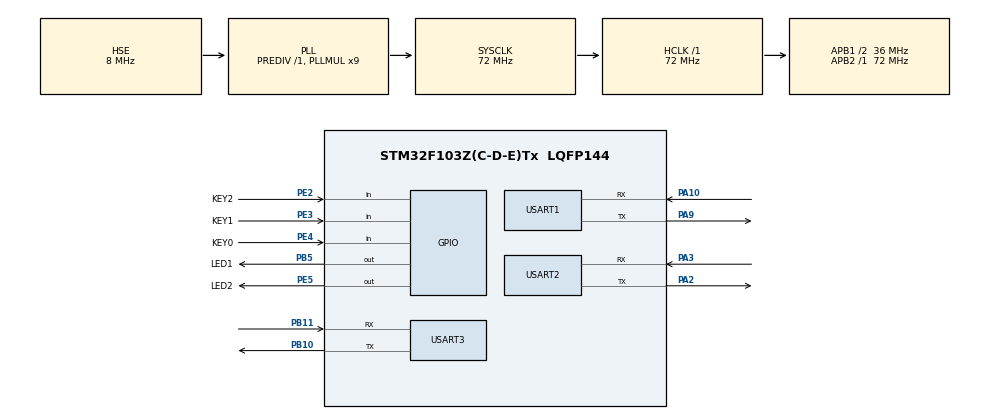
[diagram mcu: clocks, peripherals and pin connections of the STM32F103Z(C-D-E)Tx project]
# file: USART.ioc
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FREERTOS.Tasks01=Init_Task,2,128,Init_Function,Default,NULL,Dynamic,NULL,NULL;LED_Task,-3,128,LED_Function,Default,NULL,Dynamic,NULL,NULL;myTaskKEY,-3,128,StartTaskKEY,Default,NULL,Dynamic,NULL,NULL
Mcu.Family=STM32F1
Mcu.Name=STM32F103Z(C-D-E)Tx
Mcu.Package=LQFP144
NVIC.PriorityGroup=NVIC_PRIORITYGROUP_4
NVIC.TIM1_UP_IRQn=true\:15\:0\:true\:false\:true\:false\:false\:true
NVIC.TIM3_IRQn=true\:6\:0\:true\:false\:true\:true\:true\:true
NVIC.TIM4_IRQn=true\:6\:0\:true\:false\:true\:true\:true\:true
NVIC.TimeBase=TIM1_UP_IRQn
NVIC.TimeBaseIP=TIM1
NVIC.USART1_IRQn=true\:5\:0\:true\:false\:true\:true\:true\:true
NVIC.USART2_IRQn=true\:5\:0\:true\:false\:true\:true\:true\:true
NVIC.USART3_IRQn=true\:5\:0\:false\:false\:true\:true\:true\:true
OSC_IN.Mode=HSE-External-Oscillator
OSC_IN.Signal=RCC_OSC_IN
OSC_OUT.Mode=HSE-External-Oscillator
OSC_OUT.Signal=RCC_OSC_OUT
PA10.Mode=Asynchronous
PA10.Signal=USART1_RX
PA13.Mode=Serial_Wire
PA13.Signal=SYS_JTMS-SWDIO
PA14.Mode=Serial_Wire
PA14.Signal=SYS_JTCK-SWCLK
PA2.Mode=Asynchronous
PA2.Signal=USART2_TX
PA3.Mode=Asynchronous
PA3.Signal=USART2_RX
PA9.Mode=Asynchronous
PA9.Signal=USART1_TX
PB10.Mode=Asynchronous
PB10.Signal=USART3_TX
PB11.Mode=Asynchronous
PB11.Signal=USART3_RX
PB5.GPIO_Label=LED1
PB5.Signal=GPIO_Output
PE2.GPIO_Label=KEY2
PE2.GPIO_PuPd=GPIO_PULLUP
PE2.Signal=GPIO_Input
PE3.GPIO_Label=KEY1
PE3.GPIO_PuPd=GPIO_PULLUP
PE3.Signal=GPIO_Input
PE4.GPIO_Label=KEY0
PE4.GPIO_PuPd=GPIO_PULLUP
PE4.Signal=GPIO_Input
PE5.GPIO_Label=LED2
PE5.Signal=GPIO_Output
ProjectManager.HeapSize=0x200
ProjectManager.StackSize=0x400
ProjectManager.TargetToolchain=MDK-ARM V5.32
RCC.AHBFreq_Value=72000000
RCC.APB1CLKDivider=RCC_HCLK_DIV2
RCC.APB1Freq_Value=36000000
RCC.APB1TimFreq_Value=72000000
RCC.APB2Freq_Value=72000000
RCC.APB2TimFreq_Value=72000000
RCC.HCLKFreq_Value=72000000
RCC.PLLMUL=RCC_PLL_MUL9
RCC.PLLSourceVirtual=RCC_PLLSOURCE_HSE
RCC.SYSCLKFreq_VALUE=72000000
RCC.SYSCLKSource=RCC_SYSCLKSOURCE_PLLCLK
RCC.USBFreq_Value=72000000
TIM3.AutoReloadPreload=TIM_AUTORELOAD_PRELOAD_ENABLE
TIM3.Period=4999
TIM3.Prescaler=7199
TIM4.AutoReloadPreload=TIM_AUTORELOAD_PRELOAD_ENABLE
TIM4.Period=9999
TIM4.Prescaler=7199
USART1.VirtualMode=VM_ASYNC
USART2.VirtualMode=VM_ASYNC
USART3.VirtualMode=VM_ASYNC
VP_FREERTOS_VS_CMSIS_V1.Mode=CMSIS_V1
VP_SYS_VS_tim1.Mode=TIM1
VP_TIM3_VS_ClockSourceINT.Mode=Internal
VP_TIM4_VS_ClockSourceINT.Mode=Internal
board=custom

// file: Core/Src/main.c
/* USER CODE BEGIN Header */
/**
  ******************************************************************************
  * @file           : main.c
  * @brief          : Main program body
  ******************************************************************************
  * @attention
  *
  * Copyright (c) 2023 STMicroelectronics.
  * All rights reserved.
  *
  * This software is licensed under terms that can be found in the LICENSE file
  * in the root directory of this software component.
  * If no LICENSE file comes with this software, it is provided AS-IS.
  *
  ******************************************************************************
  */
/* USER CODE END Header */
#include "main.h"
#include "cmsis_os.h"
#include "tim.h"
#include "usart.h"
#include "gpio.h"

void SystemClock_Config(void);
void MX_FREERTOS_Init(void);

int main(void)
{

  /* MCU Configuration--------------------------------------------------------*/

  /* Reset of all peripherals, Initializes the Flash interface and the Systick. */
  HAL_Init();

  /* Configure the system clock */
  SystemClock_Config();

  /* Initialize all configured peripherals */
  MX_GPIO_Init();
  MX_USART1_UART_Init();
  MX_USART2_UART_Init();
  MX_USART3_UART_Init();
  MX_TIM3_Init();
  MX_TIM4_Init();

  /* Call init function for freertos objects (in freertos.c) */
  MX_FREERTOS_Init();
  /* Start scheduler */
  osKernelStart();

  /* We should never get here as control is now taken by the scheduler */
  /* Infinite loop */
  while (1)
  {

  }
}

void SystemClock_Config(void)
{
  RCC_OscInitTypeDef RCC_OscInitStruct = {0};
  RCC_ClkInitTypeDef RCC_ClkInitStruct = {0};

  /** Initializes the RCC Oscillators according to the specified parameters
  * in the RCC_OscInitTypeDef structure.
  */
  RCC_OscInitStruct.OscillatorType = RCC_OSCILLATORTYPE_HSE;
  RCC_OscInitStruct.HSEState = RCC_HSE_ON;
  RCC_OscInitStruct.HSEPredivValue = RCC_HSE_PREDIV_DIV1;
  RCC_OscInitStruct.HSIState = RCC_HSI_ON;
  RCC_OscInitStruct.PLL.PLLState = RCC_PLL_ON;
  RCC_OscInitStruct.PLL.PLLSource = RCC_PLLSOURCE_HSE;
  RCC_OscInitStruct.PLL.PLLMUL = RCC_PLL_MUL9;
  if (HAL_RCC_OscConfig(&RCC_OscInitStruct) != HAL_OK)
  {
    Error_Handler();
  }
  /** Initializes the CPU, AHB and APB buses clocks
  */
  RCC_ClkInitStruct.ClockType = RCC_CLOCKTYPE_HCLK|RCC_CLOCKTYPE_SYSCLK
                              |RCC_CLOCKTYPE_PCLK1|RCC_CLOCKTYPE_PCLK2;
  RCC_ClkInitStruct.SYSCLKSource = RCC_SYSCLKSOURCE_PLLCLK;
  RCC_ClkInitStruct.AHBCLKDivider = RCC_SYSCLK_DIV1;
  RCC_ClkInitStruct.APB1CLKDivider = RCC_HCLK_DIV2;
  RCC_ClkInitStruct.APB2CLKDivider = RCC_HCLK_DIV1;

  if (HAL_RCC_ClockConfig(&RCC_ClkInitStruct, FLASH_LATENCY_2) != HAL_OK)
  {
    Error_Handler();
  }
}

void Error_Handler(void)
{
  __disable_irq();
  while (1)
  {
  }
}

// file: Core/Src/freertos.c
/* USER CODE BEGIN Header */
/**
  ******************************************************************************
  * File Name          : freertos.c
  * Description        : Code for freertos applications
  ******************************************************************************
  * @attention
  *
  * Copyright (c) 2023 STMicroelectronics.
  * All rights reserved.
  *
  * This software is licensed under terms that can be found in the LICENSE file
  * in the root directory of this software component.
  * If no LICENSE file comes with this software, it is provided AS-IS.
  *
  ******************************************************************************
  */
/* USER CODE END Header */

#include "FreeRTOS.h"
#include "task.h"
#include "main.h"
#include "cmsis_os.h"

osThreadId Init_TaskHandle;
osThreadId LED_TaskHandle;
osThreadId myTaskKEYHandle;

void Init_Function(void const * argument);
void LED_Function(void const * argument);
void StartTaskKEY(void const * argument);

void MX_FREERTOS_Init(void); /* (MISRA C 2004 rule 8.1) */

/* GetIdleTaskMemory prototype (linked to static allocation support) */
void vApplicationGetIdleTaskMemory( StaticTask_t **ppxIdleTaskTCBBuffer, StackType_t **ppxIdleTaskStackBuffer, uint32_t *pulIdleTaskStackSize );

/* USER CODE BEGIN GET_IDLE_TASK_MEMORY */
static StaticTask_t xIdleTaskTCBBuffer;
static StackType_t xIdleStack[configMINIMAL_STACK_SIZE];

void vApplicationGetIdleTaskMemory( StaticTask_t **ppxIdleTaskTCBBuffer, StackType_t **ppxIdleTaskStackBuffer, uint32_t *pulIdleTaskStackSize )
{
  *ppxIdleTaskTCBBuffer = &xIdleTaskTCBBuffer;
  *ppxIdleTaskStackBuffer = &xIdleStack[0];
  *pulIdleTaskStackSize = configMINIMAL_STACK_SIZE;
  /* place for user code */
}
/* USER CODE END GET_IDLE_TASK_MEMORY */

void MX_FREERTOS_Init(void) {

  /* Create the thread(s) */
  /* definition and creation of Init_Task */
  osThreadDef(Init_Task, Init_Function, osPriorityHigh, 0, 256);
  Init_TaskHandle = osThreadCreate(osThread(Init_Task), NULL);

  /* definition and creation of LED_Task */
  osThreadDef(LED_Task, LED_Function, osPriorityIdle, 0, 128);
  LED_TaskHandle = osThreadCreate(osThread(LED_Task), NULL);

  /* definition and creation of myTaskKEY */
  osThreadDef(myTaskKEY, StartTaskKEY, osPriorityIdle, 0, 128);
  myTaskKEYHandle = osThreadCreate(osThread(myTaskKEY), NULL);

}

void Init_Function(void const * argument)
{
  /* USER CODE BEGIN Init_Function */
  /* Infinite loop */
  for(;;)
  {
		taskENTER_CRITICAL(); //进入临界区

		HAL_UART_Receive_IT(&huart1, (uint8_t *)&aRxBuffer, 1);   //再开启接收中断
		PID_Init();
		control_Init();
		vTaskDelete(NULL);
		taskEXIT_CRITICAL();            //退出临界区
  }
  /* USER CODE END Init_Function */
}

void LED_Function(void const * argument)
{
  /* USER CODE BEGIN LED_Function */
  /* Infinite loop */
  for(;;)
  {
		if(led_flag==1)
		{
			LED1_ON();
			HAL_Delay(500);
			LED1_OFF();
			HAL_Delay(500);
		}
		else if(led_flag==2)
		{
			LED2_ON();
			HAL_Delay(500);
			LED2_OFF();
			HAL_Delay(500);
		}
  }
  /* USER CODE END LED_Function */
}

void StartTaskKEY(void const * argument)
{
  /* USER CODE BEGIN StartTaskKEY */
  /* Infinite loop */
  for(;;)
  {
	  uint8_t key=KEY_Scan();
	  if(key)
	  {
		  if(key==1)
		  {
			  led_flag=1;
		  }
		  else if(key==2)
		  {
			  led_flag=2;
		  }
	  }
    osDelay(1);
  }
  /* USER CODE END StartTaskKEY */
}
